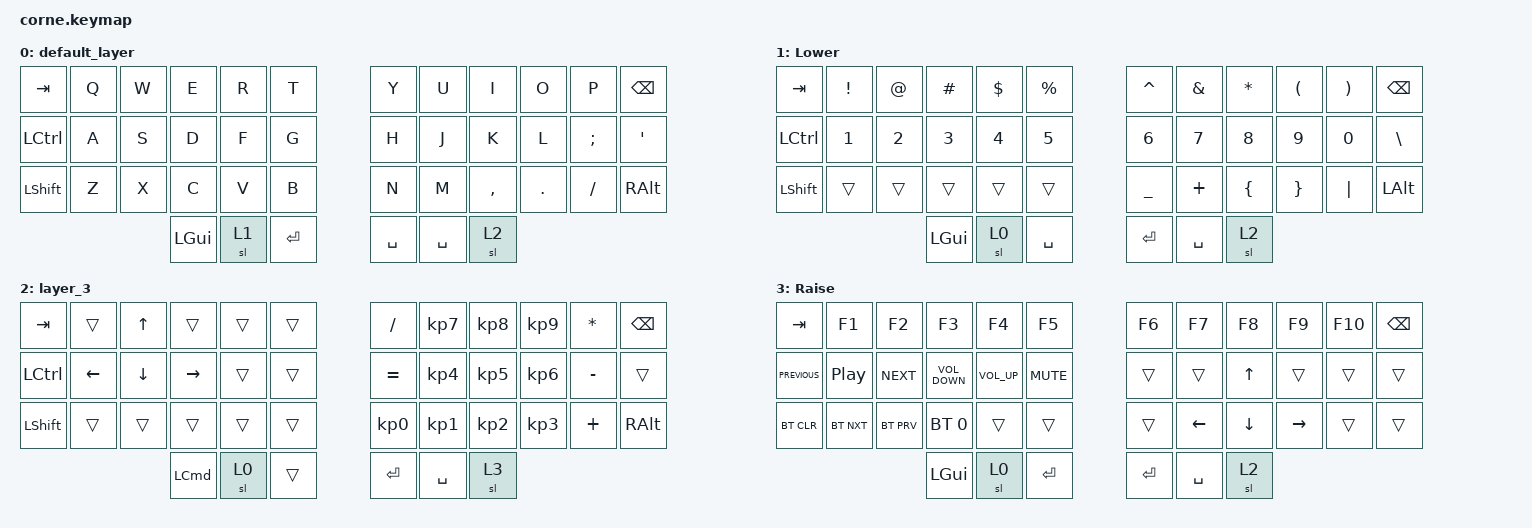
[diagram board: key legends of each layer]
/*
 * Copyright (c) 2020 The ZMK Contributors
 *
 * SPDX-License-Identifier: MIT
 */

#include <behaviors.dtsi>
#include <dt-bindings/zmk/bt.h>
#include <dt-bindings/zmk/keys.h>

/ {
    keymap {
        compatible = "zmk,keymap";

        default_layer {
            // -----------------------------------------------------------------------------------------
            // |  TAB |  Q  |  W  |  E  |  R  |  T  |   |  Y  |  U   |  I  |  O  |  P  | BKSP |
            // | CTRL |  A  |  S  |  D  |  F  |  G  |   |  H  |  J   |  K  |  L  |  ;  |  '   |
            // | SHFT |  Z  |  X  |  C  |  V  |  B  |   |  N  |  M   |  ,  |  .  |  /  | ESC  |
            //                    | GUI | LWR | SPC |   | ENT | RSE  | ALT |

            bindings = <
&kp TAB    &kp Q  &kp W  &kp E     &kp R  &kp T         &kp Y      &kp U      &kp I      &kp O    &kp P     &kp BACKSPACE
&kp LCTRL  &kp A  &kp S  &kp D     &kp F  &kp G         &kp H      &kp J      &kp K      &kp L    &kp SEMI  &kp SQT
&kp LSHFT  &kp Z  &kp X  &kp C     &kp V  &kp B         &kp N      &kp M      &kp COMMA  &kp DOT  &kp FSLH  &kp RIGHT_ALT
                         &kp LGUI  &sl 1  &kp RETURN    &kp SPACE  &kp SPACE  &sl 2
            >;
        };

        lower_layer {
            // -----------------------------------------------------------------------------------------
            // |  TAB |  1  |  2  |  3  |  4  |  5  |   |  6  |  7  |  8  |  9  |  0  | BKSP |
            // | BTCLR| BT1 | BT2 | BT3 | BT4 | BT5 |   | LFT | DWN |  UP | RGT |     |      |
            // | SHFT |     |     |     |     |     |   |     |     |     |     |     |      |
            //                    | GUI |     | SPC |   | ENT |     | ALT |

            display-name = "Lower";
            bindings = <
&kp TAB    &kp EXCL      &kp AT        &kp HASH      &kp DLLR      &kp PRCNT    &kp CARET     &kp AMPS   &kp ASTRK  &kp LPAR  &kp RPAR  &kp BSPC
&kp LCTRL  &kp NUMBER_1  &kp NUMBER_2  &kp NUMBER_3  &kp NUMBER_4  &kp N5       &kp NUMBER_6  &kp N7     &kp N8     &kp N9    &kp N0    &kp BACKSLASH
&kp LSHFT  &trans        &trans        &trans        &trans        &trans       &kp UNDER     &kp PLUS   &kp LBRC   &kp RBRC  &kp PIPE  &kp LEFT_ALT
                                       &kp LGUI      &sl 0         &kp SPACE    &kp RET       &kp SPACE  &sl 2
            >;
        };

        layer_3 {
            bindings = <
&kp TAB           &trans    &kp UP_ARROW  &trans            &trans  &trans    &kp SLASH   &kp KP_NUMBER_7  &kp KP_NUMBER_8  &kp KP_NUMBER_9  &kp ASTERISK  &kp BACKSPACE
&kp LEFT_CONTROL  &kp LEFT  &kp DOWN      &kp RIGHT         &trans  &trans    &kp EQUAL   &kp KP_NUMBER_4  &kp KP_NUMBER_5  &kp KP_NUMBER_6  &kp MINUS     &trans
&kp LEFT_SHIFT    &trans    &trans        &trans            &trans  &trans    &kp KP_N0   &kp KP_NUMBER_1  &kp KP_NUMBER_2  &kp KP_NUMBER_3  &kp PLUS      &kp RIGHT_ALT
                                          &kp LEFT_COMMAND  &sl 0   &trans    &kp RETURN  &kp SPACE        &sl 3
            >;
        };

        raise_layer {
            // -----------------------------------------------------------------------------------------
            // |  TAB |  !  |  @  |  #  |  $  |  %  |   |  ^  |  &  |  *  |  (  |  )  | BKSP |
            // | CTRL |     |     |     |     |     |   |  -  |  =  |  [  |  ]  |  \  |  `   |
            // | SHFT |     |     |     |     |     |   |  _  |  +  |  {  |  }  | "|" |  ~   |
            //                    | GUI |     | SPC |   | ENT |     | ALT |

            display-name = "Raise";
            bindings = <
&kp TAB         &kp F1            &kp F2      &kp F3             &kp F4           &kp F5        &kp F6   &kp F7     &kp F8          &kp F9     &kp F10  &kp BSPC
&kp C_PREVIOUS  &kp C_PLAY_PAUSE  &kp C_NEXT  &kp C_VOLUME_DOWN  &kp C_VOLUME_UP  &kp K_MUTE    &trans   &trans     &kp UP          &trans     &trans   &trans
&bt BT_CLR      &bt BT_NXT        &bt BT_PRV  &bt BT_SEL 0       &trans           &trans        &trans   &kp LEFT   &kp DOWN_ARROW  &kp RIGHT  &trans   &trans
                                              &kp LGUI           &sl 0            &kp RETURN    &kp RET  &kp SPACE  &sl 2
            >;
        };
    };
};
